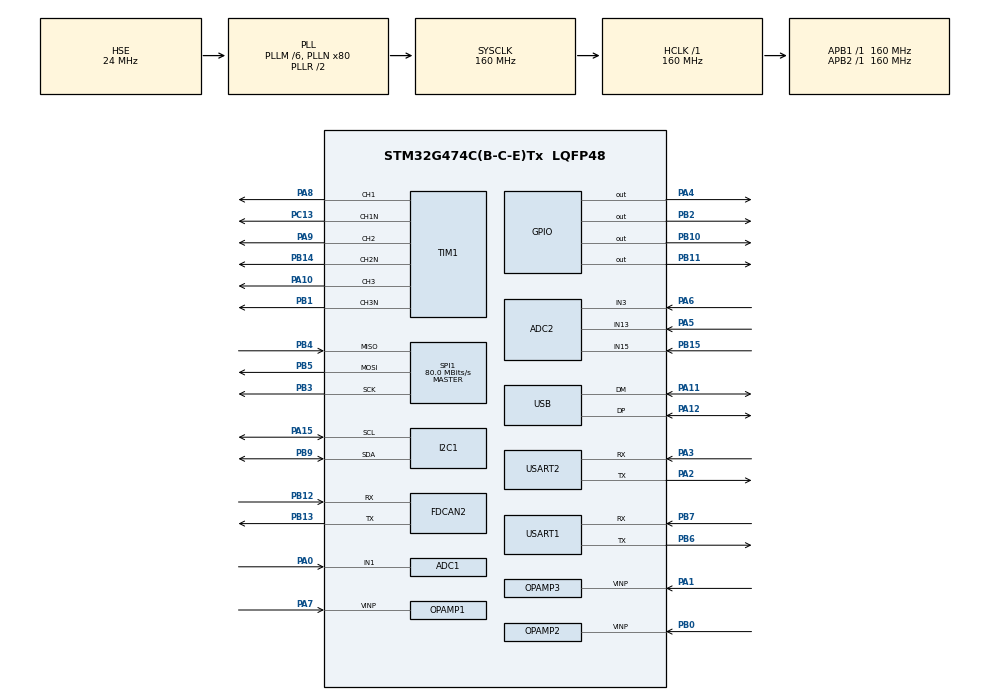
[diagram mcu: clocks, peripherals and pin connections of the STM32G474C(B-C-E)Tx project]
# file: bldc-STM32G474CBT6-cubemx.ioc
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ADC1.Channel-0\#ChannelRegularConversion=ADC_CHANNEL_1
ADC1.NbrOfConversionFlag=1
ADC1.OffsetNumber-0\#ChannelRegularConversion=ADC_OFFSET_NONE
ADC1.Rank-0\#ChannelRegularConversion=1
ADC1.SamplingTime-0\#ChannelRegularConversion=ADC_SAMPLETIME_2CYCLES_5
ADC1.master=1
ADC2.Channel-0\#ChannelRegularConversion=ADC_CHANNEL_3
ADC2.NbrOfConversionFlag=1
ADC2.OffsetNumber-0\#ChannelRegularConversion=ADC_OFFSET_NONE
ADC2.Rank-0\#ChannelRegularConversion=1
ADC2.SamplingTime-0\#ChannelRegularConversion=ADC_SAMPLETIME_2CYCLES_5
FDCAN2.CalculateBaudRateNominal=1666666
FDCAN2.CalculateTimeBitNominal=600
FDCAN2.CalculateTimeQuantumNominal=200.0
FREERTOS.Tasks01=defaultTask,24,128,StartDefaultTask,Default,NULL,Dynamic,NULL,NULL
I2C1.Timing=0x30D29DE4
Mcu.Family=STM32G4
Mcu.Name=STM32G474C(B-C-E)Tx
Mcu.Package=LQFP48
NVIC.PriorityGroup=NVIC_PRIORITYGROUP_4
NVIC.TIM2_IRQn=true\:15\:0\:false\:false\:true\:false\:false\:true\:true
NVIC.TimeBase=TIM2_IRQn
NVIC.TimeBaseIP=TIM2
NVIC.USB_LP_IRQn=true\:5\:0\:false\:false\:true\:true\:false\:true\:true
PA0.Mode=IN1-Single-Ended
PA0.Signal=ADC1_IN1
PA1.Mode=PGA_Internally_Connected
PA1.Signal=OPAMP3_VINP
PA10.Signal=S_TIM1_CH3
PA11.Mode=Device
PA11.Signal=USB_DM
PA12.Mode=Device
PA12.Signal=USB_DP
PA13.Mode=Serial_Wire
PA13.Signal=SYS_JTMS-SWDIO
PA14.Mode=Serial_Wire
PA14.Signal=SYS_JTCK-SWCLK
PA15.Mode=I2C
PA15.Signal=I2C1_SCL
PA2.Mode=Asynchronous
PA2.Signal=USART2_TX
PA3.Mode=Asynchronous
PA3.Signal=USART2_RX
PA4.Signal=GPIO_Output
PA5.Mode=IN13-Single-Ended
PA5.Signal=ADC2_IN13
PA6.Mode=IN3-Single-Ended
PA6.Signal=ADC2_IN3
PA7.Mode=PGA_Internally_Connected
PA7.Signal=OPAMP1_VINP
PA8.Signal=S_TIM1_CH1
PA9.Signal=S_TIM1_CH2
PB0.Mode=PGA_Internally_Connected
PB0.Signal=OPAMP2_VINP
PB1.Mode=PWM Generation3 CH3 CH3N
PB1.Signal=TIM1_CH3N
PB10.Signal=GPIO_Output
PB11.Signal=GPIO_Output
PB12.Mode=FDCAN_Activate
PB12.Signal=FDCAN2_RX
PB13.Mode=FDCAN_Activate
PB13.Signal=FDCAN2_TX
PB14.Mode=PWM Generation2 CH2 CH2N
PB14.Signal=TIM1_CH2N
PB15.Mode=IN15-Single-Ended
PB15.Signal=ADC2_IN15
PB2.Signal=GPIO_Output
PB3.Mode=Full_Duplex_Master
PB3.Signal=SPI1_SCK
PB4.Mode=Full_Duplex_Master
PB4.Signal=SPI1_MISO
PB5.Mode=Full_Duplex_Master
PB5.Signal=SPI1_MOSI
PB6.Mode=Asynchronous
PB6.Signal=USART1_TX
PB7.Mode=Asynchronous
PB7.Signal=USART1_RX
PB9.Mode=I2C
PB9.Signal=I2C1_SDA
PC13.Mode=PWM Generation1 CH1 CH1N
PC13.Signal=TIM1_CH1N
PC14-OSC32_IN.Mode=LSE-External-Oscillator
PC14-OSC32_IN.Signal=RCC_OSC32_IN
PC15-OSC32_OUT.Mode=LSE-External-Oscillator
PC15-OSC32_OUT.Signal=RCC_OSC32_OUT
PF0-OSC_IN.Mode=HSE-External-Oscillator
PF0-OSC_IN.Signal=RCC_OSC_IN
PF1-OSC_OUT.Mode=HSE-External-Oscillator
PF1-OSC_OUT.Signal=RCC_OSC_OUT
ProjectManager.HeapSize=0x200
ProjectManager.StackSize=0x400
ProjectManager.TargetToolchain=CMake
RCC.ADC12Freq_Value=160000000
RCC.ADC345Freq_Value=160000000
RCC.AHBFreq_Value=160000000
RCC.APB1Freq_Value=160000000
RCC.APB1TimFreq_Value=160000000
RCC.APB2Freq_Value=160000000
RCC.APB2TimFreq_Value=160000000
RCC.CK48CLockSelection=RCC_USBCLKSOURCE_HSI48
RCC.CortexFreq_Value=160000000
RCC.EXTERNAL_CLOCK_VALUE=12288000
RCC.FDCANCLockSelection=RCC_FDCANCLKSOURCE_PLL
RCC.HCLKFreq_Value=160000000
RCC.HSE_VALUE=24000000
RCC.HSI48_VALUE=48000000
RCC.HSI_VALUE=16000000
RCC.PLLM=RCC_PLLM_DIV6
RCC.PLLN=80
RCC.PLLQ=RCC_PLLQ_DIV4
RCC.PLLSourceVirtual=RCC_PLLSOURCE_HSE
RCC.SYSCLKFreq_VALUE=160000000
RCC.SYSCLKSource=RCC_SYSCLKSOURCE_PLLCLK
RCC.USBFreq_Value=48000000
RCC.VCOOutputFreq_Value=320000000
SH.S_TIM1_CH1.0=TIM1_CH1,PWM Generation1 CH1 CH1N
SH.S_TIM1_CH2.0=TIM1_CH2,PWM Generation2 CH2 CH2N
SH.S_TIM1_CH3.0=TIM1_CH3,PWM Generation3 CH3 CH3N
SPI1.BaudRatePrescaler=SPI_BAUDRATEPRESCALER_2
SPI1.CalculateBaudRate=80.0 MBits/s
SPI1.Direction=SPI_DIRECTION_2LINES
SPI1.Mode=SPI_MODE_MASTER
SPI1.VirtualType=VM_MASTER
TIM1.Channel-PWM\ Generation1\ CH1\ CH1N=TIM_CHANNEL_1
TIM1.Channel-PWM\ Generation2\ CH2\ CH2N=TIM_CHANNEL_2
TIM1.Channel-PWM\ Generation3\ CH3\ CH3N=TIM_CHANNEL_3
USART1.VirtualMode-Asynchronous=VM_ASYNC
USART2.VirtualMode-Asynchronous=VM_ASYNC
USB_DEVICE.CLASS_NAME_FS=CDC
USB_DEVICE.VirtualMode=Cdc
USB_DEVICE.VirtualModeFS=Cdc_FS
VP_FREERTOS_VS_CMSIS_V2.Mode=CMSIS_V2
VP_SYS_VS_DBSignals.Mode=DisableDeadBatterySignals
VP_SYS_VS_tim2.Mode=TIM2
VP_USB_DEVICE_VS_USB_DEVICE_CDC_FS.Mode=CDC_FS
board=custom

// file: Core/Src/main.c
/* USER CODE BEGIN Header */
/**
 ******************************************************************************
 * @file           : main.c
 * @brief          : Main program body
 ******************************************************************************
 * @attention
 *
 * Copyright (c) 2025 STMicroelectronics.
 * All rights reserved.
 *
 * This software is licensed under terms that can be found in the LICENSE file
 * in the root directory of this software component.
 * If no LICENSE file comes with this software, it is provided AS-IS.
 *
 ******************************************************************************
 */
/* USER CODE END Header */
#include "main.h"

#include "adc.h"
#include "cmsis_os.h"
#include "fdcan.h"
#include "gpio.h"
#include "i2c.h"
#include "opamp.h"
#include "spi.h"
#include "tim.h"
#include "usart.h"
#include "usb_device.h"
#include "usbd_cdc_if.h"

void SystemClock_Config(void);
void MX_FREERTOS_Init(void);

int main(void) {

  /* MCU Configuration--------------------------------------------------------*/

  /* Reset of all peripherals, Initializes the Flash interface and the Systick.
   */
  HAL_Init();

  /* Configure the system clock */
  SystemClock_Config();

  /* Initialize all configured peripherals */
  MX_GPIO_Init();
  MX_ADC1_Init();
  MX_ADC2_Init();
  MX_FDCAN2_Init();
  MX_I2C1_Init();
  MX_OPAMP1_Init();
  MX_OPAMP2_Init();
  MX_OPAMP3_Init();
  MX_SPI1_Init();
  MX_TIM1_Init();
  MX_USART1_UART_Init();
  MX_USART2_UART_Init();

  /* Init scheduler */
  osKernelInitialize();

  /* Call init function for freertos objects (in cmsis_os2.c) */
  MX_FREERTOS_Init();

  /* Start scheduler */
  osKernelStart();

  /* We should never get here as control is now taken by the scheduler */

  /* Infinite loop */
  while (1) {

  }
}

void SystemClock_Config(void) {
  RCC_OscInitTypeDef RCC_OscInitStruct = {0};
  RCC_ClkInitTypeDef RCC_ClkInitStruct = {0};

  /** Configure the main internal regulator output voltage
   */
  HAL_PWREx_ControlVoltageScaling(PWR_REGULATOR_VOLTAGE_SCALE1_BOOST);

  /** Initializes the RCC Oscillators according to the specified parameters
   * in the RCC_OscInitTypeDef structure.
   */
  RCC_OscInitStruct.OscillatorType =
      RCC_OSCILLATORTYPE_HSI48 | RCC_OSCILLATORTYPE_HSE;
  RCC_OscInitStruct.HSEState = RCC_HSE_ON;
  RCC_OscInitStruct.HSI48State = RCC_HSI48_ON;
  RCC_OscInitStruct.PLL.PLLState = RCC_PLL_ON;
  RCC_OscInitStruct.PLL.PLLSource = RCC_PLLSOURCE_HSE;
  RCC_OscInitStruct.PLL.PLLM = RCC_PLLM_DIV6;
  RCC_OscInitStruct.PLL.PLLN = 80;
  RCC_OscInitStruct.PLL.PLLP = RCC_PLLP_DIV2;
  RCC_OscInitStruct.PLL.PLLQ = RCC_PLLQ_DIV4;
  RCC_OscInitStruct.PLL.PLLR = RCC_PLLR_DIV2;
  if (HAL_RCC_OscConfig(&RCC_OscInitStruct) != HAL_OK) {
    Error_Handler();
  }

  /** Initializes the CPU, AHB and APB buses clocks
   */
  RCC_ClkInitStruct.ClockType = RCC_CLOCKTYPE_HCLK | RCC_CLOCKTYPE_SYSCLK |
                                RCC_CLOCKTYPE_PCLK1 | RCC_CLOCKTYPE_PCLK2;
  RCC_ClkInitStruct.SYSCLKSource = RCC_SYSCLKSOURCE_PLLCLK;
  RCC_ClkInitStruct.AHBCLKDivider = RCC_SYSCLK_DIV1;
  RCC_ClkInitStruct.APB1CLKDivider = RCC_HCLK_DIV1;
  RCC_ClkInitStruct.APB2CLKDivider = RCC_HCLK_DIV1;

  if (HAL_RCC_ClockConfig(&RCC_ClkInitStruct, FLASH_LATENCY_4) != HAL_OK) {
    Error_Handler();
  }
}

/* USER CODE BEGIN 4 */

void test_pwm_task(void *args) {
  uint32_t pwm_period = htim1.Init.Period;

  // U phase
  if (HAL_TIM_PWM_Start(&htim1, TIM_CHANNEL_1) != HAL_OK) {
    Error_Handler();
  }
  if (HAL_TIMEx_PWMN_Start(&htim1, TIM_CHANNEL_1) != HAL_OK) {
    Error_Handler();
  }

  // V phase
  if (HAL_TIM_PWM_Start(&htim1, TIM_CHANNEL_2) != HAL_OK) {
    Error_Handler();
  }
  if (HAL_TIMEx_PWMN_Start(&htim1, TIM_CHANNEL_2) != HAL_OK) {
    Error_Handler();
  }

  // W phase
  if (HAL_TIM_PWM_Start(&htim1, TIM_CHANNEL_3) != HAL_OK) {
    Error_Handler();
  }
  if (HAL_TIMEx_PWMN_Start(&htim1, TIM_CHANNEL_3) != HAL_OK) {
    Error_Handler();
  }

  // uint8_t data[] = "hello world";

  for (;;) {
    // CDC_Transmit_FS(data, sizeof(data));
    osDelay(1000);
    // for (int i = 0; i <= 1000; i++) {
    //   // V phase
    //   __HAL_TIM_SET_COMPARE(&htim1, TIM_CHANNEL_1,
    //                         (float)pwm_period * 95 / 100 * ((float)i /
    //                         1000));
    //   // W phase
    //   __HAL_TIM_SET_COMPARE(&htim1, TIM_CHANNEL_3, 0);
    //   osDelay(pdMS_TO_TICKS(1));
    // }
    // for (int i = 1000; i >= 0; i--) {
    //   // V phase
    //   __HAL_TIM_SET_COMPARE(&htim1, TIM_CHANNEL_1,
    //                         (float)pwm_period * 95 / 100 * ((float)i /
    //                         1000));
    //   // W phase
    //   __HAL_TIM_SET_COMPARE(&htim1, TIM_CHANNEL_3, 0);
    //   osDelay(pdMS_TO_TICKS(1));
    // }
    // for (int i = 0; i <= 1000; i++) {
    //   // V phase
    //   __HAL_TIM_SET_COMPARE(&htim1, TIM_CHANNEL_1, 0);
    //   // W phase
    //   __HAL_TIM_SET_COMPARE(&htim1, TIM_CHANNEL_3,
    //                         (float)pwm_period * 95 / 100 * ((float)i /
    //                         1000));
    //   osDelay(pdMS_TO_TICKS(1));
    // }
    // for (int i = 1000; i >= 0; i--) {
    //   // V phase
    //   __HAL_TIM_SET_COMPARE(&htim1, TIM_CHANNEL_1, 0);
    //   // W phase
    //   __HAL_TIM_SET_COMPARE(&htim1, TIM_CHANNEL_3,
    //                         (float)pwm_period * 95 / 100 * ((float)i /
    //                         1000));
    //   osDelay(pdMS_TO_TICKS(1));
    // }
    // W phase
    __HAL_TIM_SET_COMPARE(&htim1, TIM_CHANNEL_3, 0);
    // V phase
    __HAL_TIM_SET_COMPARE(&htim1, TIM_CHANNEL_2, pwm_period * 20 / 100);
    HAL_GPIO_TogglePin(GPIOB, GPIO_PIN_10);
    osDelay(pdMS_TO_TICKS(2000));
  }
}

/* USER CODE END 4 */

void HAL_TIM_PeriodElapsedCallback(TIM_HandleTypeDef *htim) {
  if (htim->Instance == TIM2) {
    HAL_IncTick();
  }
}

void Error_Handler(void) {
  __disable_irq();
  while (1) {
  }
}

#ifdef USE_FULL_ASSERT
/**
 * @brief  Reports the name of the source file and the source line number
 *         where the assert_param error has occurred.
 * @param  file: pointer to the source file name
 * @param  line: assert_param error line source number
 * @retval None
 */
void assert_failed(uint8_t *file, uint32_t line) {
  /* USER CODE BEGIN 6 */
  /* User can add his own implementation to report the file name and line
     number, ex: printf("Wrong parameters value: file %s on line %d\r\n", file,
     line) */
  /* USER CODE END 6 */
}
#endif /* USE_FULL_ASSERT */

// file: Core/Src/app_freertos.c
/* USER CODE BEGIN Header */
/**
 ******************************************************************************
 * File Name          : app_freertos.c
 * Description        : Code for freertos applications
 ******************************************************************************
 * @attention
 *
 * Copyright (c) 2025 STMicroelectronics.
 * All rights reserved.
 *
 * This software is licensed under terms that can be found in the LICENSE file
 * in the root directory of this software component.
 * If no LICENSE file comes with this software, it is provided AS-IS.
 *
 ******************************************************************************
 */
/* USER CODE END Header */

#include "FreeRTOS.h"
#include "cmsis_os.h"
#include "main.h"
#include "task.h"
#include "usb_device.h"

/* Definitions for defaultTask */
osThreadId_t defaultTaskHandle;
const osThreadAttr_t defaultTask_attributes = {
    .name = "defaultTask",
    .priority = (osPriority_t)osPriorityNormal,
    .stack_size = 128 * 4};

void StartDefaultTask(void *argument);

void MX_FREERTOS_Init(void); /* (MISRA C 2004 rule 8.1) */

void MX_FREERTOS_Init(void) {

  /* Create the thread(s) */
  /* creation of defaultTask */
  defaultTaskHandle =
      osThreadNew(StartDefaultTask, NULL, &defaultTask_attributes);

  /* USER CODE BEGIN RTOS_THREADS */
  /* add threads, ... */
  osThreadId_t test_pwm_task_handle;
  const osThreadAttr_t test_pwm_task_attr = {
      .name = "PWM test",
      .stack_size = 1024,
      .priority = (osPriority_t)osPriorityNormal,
  };
  test_pwm_task_handle = osThreadNew(test_pwm_task, NULL, &test_pwm_task_attr);
  /* USER CODE END RTOS_THREADS */

}

void StartDefaultTask(void *argument) {
  /* init code for USB_Device */
  MX_USB_Device_Init();
  for (;;) {
    osDelay(1);
  }
}
